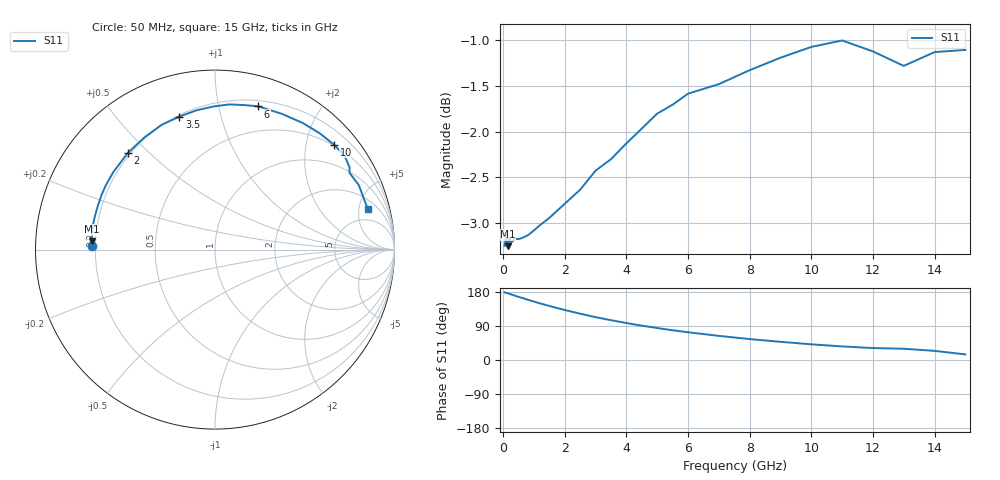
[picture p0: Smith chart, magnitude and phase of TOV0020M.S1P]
! SIEMENS Small Signal Semiconductors
! BAT15-03W
! Si Schottky Diode in SOD323
! IF = 20 mA
! S-Parameters:  May  1996
# GHz  S  MA  R  50
!  f  S11
! GHz  MAG  ANG
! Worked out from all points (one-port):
!   31 points, 50 MHz to 15 GHz, reference 50 ohm
!   lowest |S11| = -3.3 dB at 150 MHz (marker M1), VSWR 5.40, Z = 9.26 + j1.6 ohm
!   |S11| at or under -10 dB: nowhere
!   S11 on the Smith chart (normalised r, x): 50 MHz: 0.19, +0.01; 2 GHz: 0.19, +0.43; 3.5 GHz: 0.21, +0.75; 6 GHz: 0.25, +1.32; 10 GHz: 0.48, +2.57; 15 GHz: 3.09, +6.19
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0.05  0.6877 178.5
0.1  0.6972 177.0
0.15  0.6876 176.2
0.2  0.6949 174.6
0.25  0.6904 173.3
0.4  0.6941 169.3
0.6  0.6946 164.2
1  0.7014 154.2
1.2  0.7061 149.5
1.5  0.7125 142.6
2  0.7254 132.0
2.5  0.7383 122.2
3  0.7562 113.1
3.5  0.7672 105.0
4  0.7827 97.6
4.5  0.7975 90.7
5  0.8126 84.4
5.5  0.8218 78.5
6  0.8333 73.2
7  0.8434 63.7
8  0.8583 55.2
9  0.8719 48.0
10  0.8839 41.4
11  0.8911 35.8
12  0.8789 31.5
13  0.863 29.7
14  0.8781 24.1
15  0.8806 14.8
